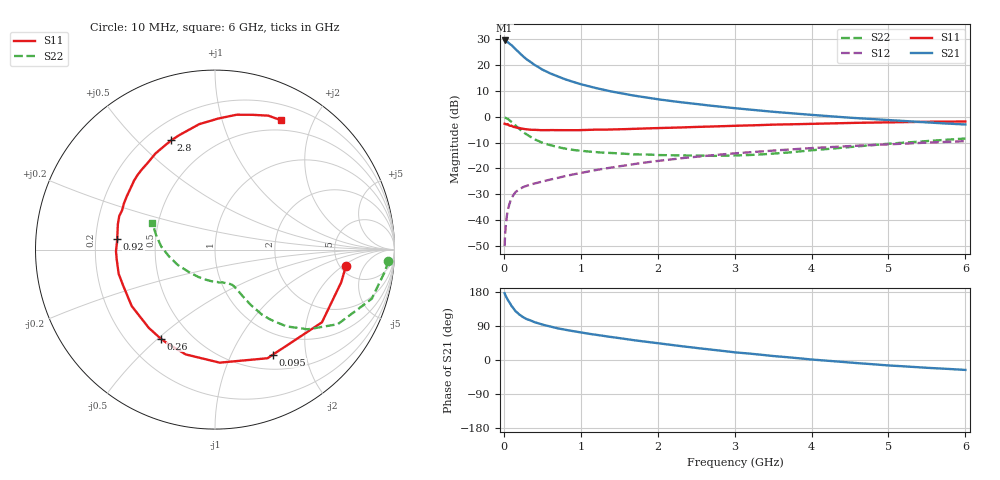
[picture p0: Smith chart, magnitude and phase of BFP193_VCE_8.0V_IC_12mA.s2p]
! Infineon Technologies  Discrete & RF Semiconductors
! BFP193
! VCE = 8.0 V,  IC =  12 mA
! Common Emitter S-Parameters:  Jan 2016
# GHz  S  MA  R  50
!  f  S11  S21  S12  S22
! GHz  MAG  ANG  MAG  ANG  MAG  ANG  MAG  ANG
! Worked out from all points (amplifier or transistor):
!   210 points, 10 MHz to 6 GHz, reference 50 ohm
!   highest |S21| = 29.6 dB at 10 MHz (marker M1)
!   |S21| within 3 dB of that: start of sweep to 138.6 MHz
!   unconditionally stable (mu >= 1): 973.3 MHz to 3.834 GHz
!   at 185 MHz: K = 0.35, MSG = 26.9 dB, |S12| = -28.5 dB
!   at 1.52 GHz: K = 1.08, MAG = 12.4 dB, |S12| = -19.1 dB
!   at 6 GHz: K = 0.90, MSG = 3.2 dB, |S12| = -9.5 dB
!   S11 on the Smith chart (normalised r, x): 10 MHz: 5.59, -2.27; 95 MHz: 0.69, -1.46; 260 MHz: 0.34, -0.51; 920 MHz: 0.29, +0.05; 2.8 GHz: 0.30, +0.64; 6 GHz: 0.38, +1.57
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0.01  0.7348 -7.3  30.18 176.1  0.0031 88.8  0.9677 -3.6
0.02  0.7267 -14.4  29.45 170.7  0.0063 83.2  0.9556 -7.1
0.05  0.7206 -34.2  28.12 159.1  0.0152 74.9  0.9156 -17.4
0.095  0.6684 -61.1  24.77 144.4  0.0256 63.0  0.8094 -29.7
0.1  0.6722 -64.2  24.51 142.5  0.0268 62.3  0.8003 -31.3
0.15  0.6305 -87.6  20.58 129.2  0.0344 54.2  0.6808 -40.7
0.2  0.6064 -105.6  17.51 120.1  0.0391 49.4  0.5834 -47.1
0.24  0.5869 -116.5  15.35 114.5  0.0425 47.1  0.52 -50.4
0.26  0.581 -121.4  14.44 112.0  0.0439 46.4  0.4933 -51.8
0.3  0.5712 -130.2  12.88 107.6  0.0462 45.8  0.4491 -54.1
0.4  0.5608 -145.9  10.13 99.7  0.0509 45.0  0.3651 -57.2
0.5  0.5498 -157.1  8.224 93.4  0.0556 45.6  0.3144 -58.8
0.7  0.5505 -173.5  6.039 83.6  0.0652 47.5  0.2581 -60.9
0.92  0.5476 174.0  4.641 75.5  0.0773 49.1  0.2258 -63.0
1.02  0.5534 168.9  4.206 72.1  0.0826 49.8  0.2176 -64.2
1.4  0.5684 153.4  3.087 60.5  0.1038 50.0  0.1988 -70.6
2.02  0.6037 133.0  2.167 43.8  0.1406 47.3  0.1809 -86.4
2.8  0.6557 111.8  1.577 25.0  0.1844 41.0  0.1749 -113.3
3.1  0.6739 105.1  1.422 18.6  0.2005 38.1  0.1796 -124.9
4.1  0.7358 86.9  1.061 -0.2  0.2517 28.4  0.2302 -160.8
5.1  0.7834 73.2  0.846 -15.5  0.2975 18.1  0.3072 174.3
6  0.8095 62.8  0.709 -26.2  0.3367 8.7  0.3788 156.9
